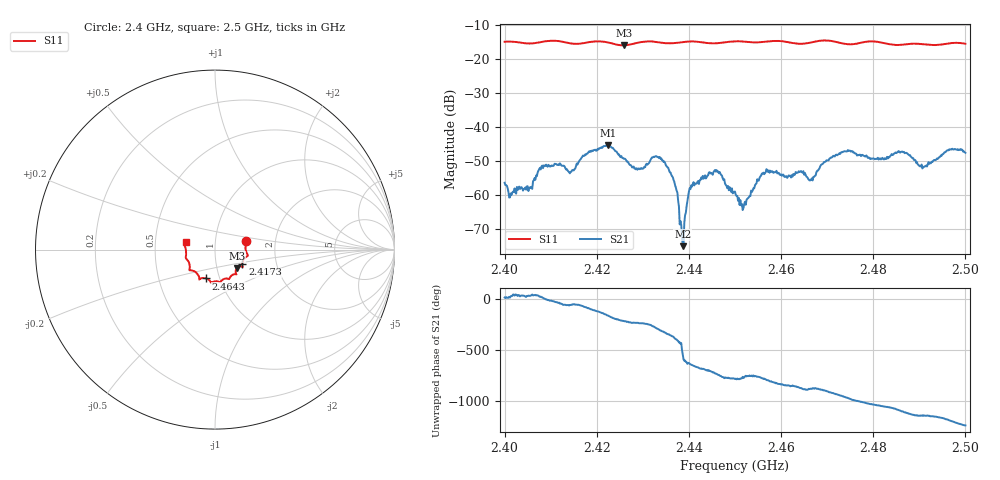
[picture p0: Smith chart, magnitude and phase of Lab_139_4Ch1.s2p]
# Hz S RI R 50
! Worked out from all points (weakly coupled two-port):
!   601 points, 2.4 GHz to 2.5 GHz, reference 50 ohm
!   highest |S21| = -45.45 dB at 2.4225 GHz (marker M1); lowest = -75.1 dB at 2.4387 GHz (marker M2)
!   lowest |S11| = -15.9 dB at 2.4258 GHz (marker M3), VSWR 1.38, Z = 62.2 - j13.2 ohm
!   |S11| at or under -10 dB: start of sweep to end of sweep
!   S12 and S22 are empty: the file has one direction only
!   S11 on the Smith chart (normalised r, x): 2.4 GHz: 1.41, +0.15; 2.4173 GHz: 1.34, -0.23; 2.4643 GHz: 0.86, -0.28; 2.5 GHz: 0.72, +0.06
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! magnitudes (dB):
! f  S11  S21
! 2.4 GHz  -14.9  -56.4
! 2.4055 GHz  -15.4  -57.9
! 2.4085 GHz  -14.8  -51.3
! 2.4167 GHz  -15.4  -49.1
! 2.4173 GHz  -15.2  -48.5
! 2.4225 GHz  -15.1  -45.4
! 2.4258 GHz  -15.9  -49.4
! 2.4333 GHz  -15.0  -48.9
! 2.4368 GHz  -15.3  -56.1
! 2.4387 GHz  -15.0  -75.1
! 2.4403 GHz  -14.8  -58.3
! 2.443 GHz  -15.1  -54.4
! 2.4462 GHz  -15.3  -53.1
! 2.45 GHz  -14.7  -59.0
! 2.4518 GHz  -14.8  -63.9
! 2.4563 GHz  -14.9  -53.9
! 2.4643 GHz  -15.5  -53.0
! 2.4667 GHz  -15.0  -55.1
! 2.4735 GHz  -15.4  -47.2
! 2.4833 GHz  -15.6  -48.9
! 2.4912 GHz  -15.7  -51.6
! 2.5 GHz  -15.4  -47.6
